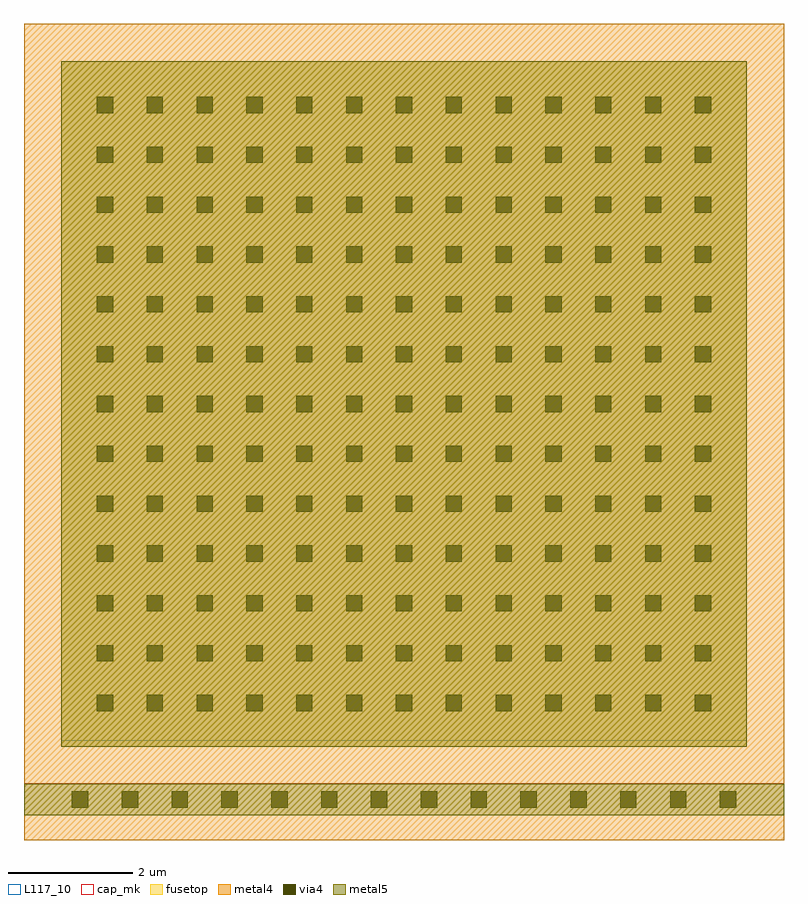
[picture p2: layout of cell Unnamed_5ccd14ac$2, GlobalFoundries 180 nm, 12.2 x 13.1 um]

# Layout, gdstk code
import gdstk
lib = gdstk.Library(unit=1e-6, precision=5e-09)
def R(c, l, rs):  # rectangles x0, y0, x1, y1
    for r in rs: c.add(gdstk.rectangle(r[:2], r[2:], *l))
def A(c, l, x, y, w, h, nx, ny, dx, dy):  # array of equal rectangles
    R(c, l, [(x+i*dx, y+j*dy, x+i*dx+w, y+j*dy+h) for i in range(nx) for j in range(ny)])
via4 = (41, 0)
metal4 = (46, 0)
fusetop = (75, 0)
metal5 = (81, 0)
cap_mk = (117, 5)
L117_10 = (117, 10)

unnamed_5ccd14ac_2 = lib.new_cell('Unnamed_5ccd14ac$2')
A(unnamed_5ccd14ac_2, via4, -5.33, -6.48, 0.26, 0.26, 14, 1, 0.8, 0)
A(unnamed_5ccd14ac_2, via4, -4.93, -4.93, 0.26, 0.26, 13, 13, 0.8, 0.8)
R(unnamed_5ccd14ac_2, metal4, [(-6.1,-7,6.1,-6.6), (-6.1,-6.6,6.1,-6.1), (-6.1,-6.1,6.1,6.1)])
R(unnamed_5ccd14ac_2, fusetop, [(-5.5,-5.5,5.5,5.5)])
A(unnamed_5ccd14ac_2, metal5, -5.45, -6.6, 0.5, 0.5, 14, 1, 0.8, 0)
A(unnamed_5ccd14ac_2, metal5, -5.05, -5.05, 0.5, 0.5, 13, 13, 0.8, 0.8)
R(unnamed_5ccd14ac_2, metal5, [(-6.1,-6.6,6.1,-6.1), (-5.5,-5.5,5.5,5.5)])
R(unnamed_5ccd14ac_2, cap_mk, [(-6.1,-6.1,6.1,6.1)])
R(unnamed_5ccd14ac_2, L117_10, [(-5.5,-5.5,5.5,-5.4)])

lib.write_gds('Unnamed_5ccd14ac_2.gds')
